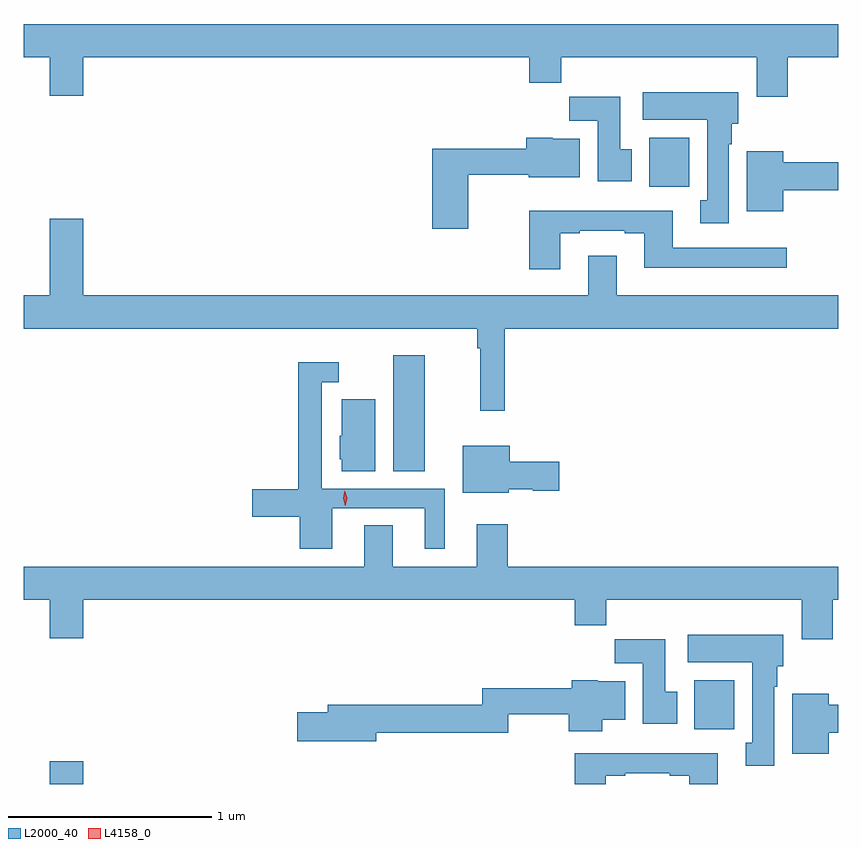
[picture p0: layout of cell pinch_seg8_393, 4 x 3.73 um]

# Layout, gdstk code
import gdstk
lib = gdstk.Library(unit=1e-6, precision=1e-09)
def R(c, l, rs):  # rectangles x0, y0, x1, y1
    for r in rs: c.add(gdstk.rectangle(r[:2], r[2:], *l))
def P(c, l, *ps):  # polygons
    for p in ps: c.add(gdstk.Polygon(p, *l))
L2000_40 = (2000, 40)
L4158_0 = (4158, 0)

pinch_seg8_393 = lib.new_cell('pinch_seg8_393')
R(pinch_seg8_393, L2000_40, [(596.576,1090.288,596.74,1090.399), (599.741,1090.556,599.938,1090.798), (598.262,1091.824,598.417,1092.394), (599.519,1093.22,599.716,1093.462)])
P(pinch_seg8_393, L2000_40, [(600.2,1093.856),(600.448,1093.856),(600.448,1094.02),(596.448,1094.02),(596.448,1093.856),(596.576,1093.856),(596.576,1093.668),(596.74,1093.668),(596.74,1093.856),(598.931,1093.856),(598.931,1093.732),(599.087,1093.732),(599.087,1093.856),(600.047,1093.856),(600.047,1093.662),(600.2,1093.662)],
  [(599.911,1093.43),(599.926,1093.43),(599.926,1093.53),(599.956,1093.53),(599.956,1093.684),(599.487,1093.684),(599.487,1093.55),(599.804,1093.55),(599.804,1093.154),(599.771,1093.154),(599.771,1093.041),(599.911,1093.041)],
  [(599.434,1093.404),(599.377,1093.404),(599.377,1093.663),(599.128,1093.663),(599.128,1093.544),(599.267,1093.544),(599.267,1093.248),(599.434,1093.248)],
  [(598.632,1093.279),(598.928,1093.279),(598.928,1093.268),(599.179,1093.268),(599.179,1093.456),(599.046,1093.456),(599.046,1093.462),(598.916,1093.462),(598.916,1093.408),(598.454,1093.408),(598.454,1093.014),(598.632,1093.014)],
  [(600.178,1093.204),(600.448,1093.204),(600.448,1093.34),(600.178,1093.34),(600.178,1093.396),(599.999,1093.396),(599.999,1093.1),(600.178,1093.1)],
  [(599.083,1092.993),(599.179,1092.993),(599.179,1093.005),(599.399,1093.005),(599.399,1092.993),(599.495,1092.993),(599.495,1092.824),(600.196,1092.824),(600.196,1092.921),(599.635,1092.921),(599.635,1093.102),(598.931,1093.102),(598.931,1092.816),(599.083,1092.816)],
  [(598.811,1092.524),(600.448,1092.524),(600.448,1092.688),(599.359,1092.688),(599.359,1092.883),(599.219,1092.883),(599.219,1092.688),(596.74,1092.688),(596.74,1093.063),(596.576,1093.063),(596.576,1092.688),(596.448,1092.688),(596.448,1092.524),(598.675,1092.524),(598.675,1092.428),(598.69,1092.428),(598.69,1092.12),(598.811,1092.12)],
  [(597.964,1091.643),(598.418,1091.643),(598.418,1091.442),(598.516,1091.442),(598.516,1091.739),(597.912,1091.739),(597.912,1092.261),(597.994,1092.261),(597.994,1092.358),(597.796,1092.358),(597.796,1091.735),(597.57,1091.735),(597.57,1091.6),(597.803,1091.6),(597.803,1091.442),(597.964,1091.442)],
  [(598.174,1092.178),(598.01,1092.178),(598.01,1091.997),(598.001,1091.997),(598.001,1091.883),(598.01,1091.883),(598.01,1091.824),(598.174,1091.824)],
  [(598.83,1091.735),(598.947,1091.735),(598.947,1091.728),(599.077,1091.728),(599.077,1091.87),(598.834,1091.87),(598.834,1091.95),(598.604,1091.95),(598.604,1091.717),(598.83,1091.717)],
  [(600.422,1091.192),(600.448,1091.192),(600.448,1091.356),(598.826,1091.356),(598.826,1091.563),(598.673,1091.563),(598.673,1091.356),(598.261,1091.356),(598.261,1091.558),(598.121,1091.558),(598.121,1091.356),(596.448,1091.356),(596.448,1091.192),(596.576,1091.192),(596.576,1091.004),(596.74,1091.004),(596.74,1091.192),(599.153,1091.192),(599.153,1091.068),(599.309,1091.068),(599.309,1091.192),(600.269,1091.192),(600.269,1090.998),(600.422,1090.998)],
  [(600.133,1090.766),(600.148,1090.766),(600.148,1090.866),(600.178,1090.866),(600.178,1091.02),(599.709,1091.02),(599.709,1090.886),(600.026,1090.886),(600.026,1090.49),(599.993,1090.49),(599.993,1090.377),(600.133,1090.377)],
  [(599.656,1090.74),(599.599,1090.74),(599.599,1090.999),(599.35,1090.999),(599.35,1090.88),(599.489,1090.88),(599.489,1090.584),(599.656,1090.584)],
  [(598.18,1090.54),(598.828,1090.54),(598.828,1090.63),(599.125,1090.63),(599.125,1090.547),(599.29,1090.547),(599.29,1090.604),(599.401,1090.604),(599.401,1090.792),(599.268,1090.792),(599.268,1090.798),(599.138,1090.798),(599.138,1090.759),(598.699,1090.759),(598.699,1090.676),(597.941,1090.676),(597.941,1090.64),(597.792,1090.64),(597.792,1090.498),(598.18,1090.498)],
  [(600.4,1090.54),(600.448,1090.54),(600.448,1090.676),(600.4,1090.676),(600.4,1090.732),(600.221,1090.732),(600.221,1090.436),(600.4,1090.436)],
  [(599.305,1090.329),(599.401,1090.329),(599.401,1090.341),(599.621,1090.341),(599.621,1090.329),(599.717,1090.329),(599.717,1090.288),(599.857,1090.288),(599.857,1090.438),(599.153,1090.438),(599.153,1090.288),(599.305,1090.288)])
P(pinch_seg8_393, L4158_0, [(598.028,1091.654),(598.028,1091.655),(598.017,1091.69),(598.025,1091.727),(598.025,1091.727),(598.025,1091.727),(598.037,1091.691),(598.028,1091.655)])

lib.write_gds('pinch_seg8_393.gds')
